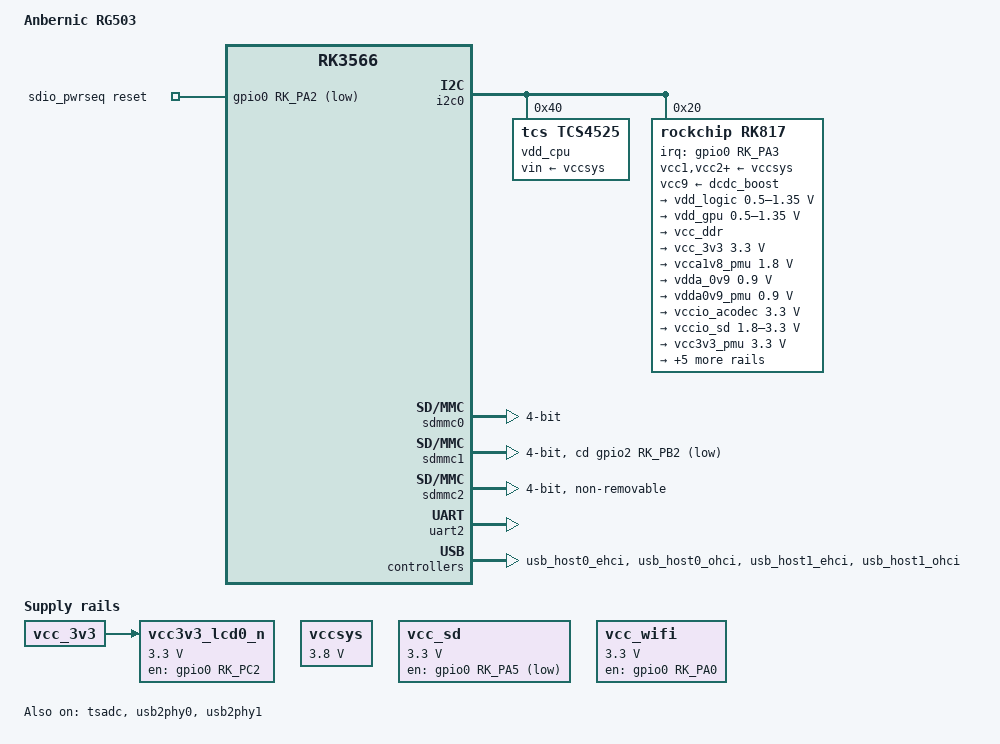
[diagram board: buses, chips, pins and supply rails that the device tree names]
// SPDX-License-Identifier: (GPL-2.0+ OR MIT)

/dts-v1/;

#include <dt-bindings/gpio/gpio.h>
#include <dt-bindings/pinctrl/rockchip.h>
#include "rk3566.dtsi"

/ {
	model = "Anbernic RG503";
	compatible = "anbernic,rg503", "rockchip,rk3566";

	chosen: chosen {
		stdout-path = "serial2:1500000n8";
	};

	sdio_pwrseq: sdio-pwrseq {
		compatible = "mmc-pwrseq-simple";
		clocks = <&rk817 1>;
		clock-names = "ext_clock";
		pinctrl-names = "default";
		pinctrl-0 = <&wifi_en>;
		post-power-on-delay-ms = <200>;

		reset-gpios = <&gpio0 RK_PA2 GPIO_ACTIVE_LOW>;
	};

	vccsys: vccsys {
		compatible = "regulator-fixed";
		regulator-name = "vccsys";
		regulator-always-on;
		regulator-boot-on;
		regulator-min-microvolt = <3800000>;
		regulator-max-microvolt = <3800000>;
	};

	vcc3v3_lcd0_n: vcc3v3-lcd0-n {
		compatible = "regulator-fixed";
		regulator-name = "vcc3v3-lcd0-n";
		regulator-boot-on;
		regulator-min-microvolt = <3300000>;
		regulator-max-microvolt = <3300000>;
		enable-active-high;
		gpio = <&gpio0 RK_PC2 GPIO_ACTIVE_HIGH>;
		vin-supply = <&vcc_3v3>;
		regulator-state-mem {
			regulator-off-in-suspend;
		};
	};

	vcc_sd: vcc-sd {
		compatible = "regulator-fixed";
		regulator-name = "vcc_sd";
		regulator-min-microvolt = <3300000>;
		regulator-max-microvolt = <3300000>;
		enable-active-low;
		gpio = <&gpio0 RK_PA5 GPIO_ACTIVE_LOW>;
		pinctrl-names = "default";
		pinctrl-0 = <&vcc_sd_en>;
	};

	vcc_wifi: vcc-wifi {
		compatible = "regulator-fixed";
		regulator-name = "vcc_wifi";
		regulator-min-microvolt = <3300000>;
		regulator-max-microvolt = <3300000>;
		enable-active-high;
		gpio = <&gpio0 RK_PA0 GPIO_ACTIVE_HIGH>;
		pinctrl-names = "default";
		pinctrl-0 = <&vcc_wifi_en>;
	};
};

#if 0
spi-lcd {
	compatible = "spi-gpio";
	#address-cells = <1>;
	#size-cells = <0>;

	sck-gpios = <&gpio4 RK_PB3 GPIO_ACTIVE_HIGH>;
	mosi-gpios = <&gpio4 RK_PB0 GPIO_ACTIVE_HIGH>;
	num-chipselects = <1>;
	cs-gpios = <&gpio4 RK_PA7 GPIO_ACTIVE_HIGH>;

	pinctrl-names = "default";
	pinctrl-0 = <&spi_lcd>;

	lcd@0 {
		compatible = "samsung,ams495qa04";
		reg = <0>;
		vdd-supply = <&vcc3v3_lcd0_n>;
//		vci-supply = <TODO>; is it hardwired to battery?
//		elvdd-supply = <TODO>;
		reset-gpios = <&gpio4 RK_PA0 GPIO_ACTIVE_LOW>;
		enable-gpios = <&gpio4 RK_PC0 GPIO_ACTIVE_HIGH>;
//		spi-max-frequency = <1200000>;

		pinctrl-names = "default";
		pinctrl-0 = <&lcd_lcd>;

		port {
			mipi_in_panel: endpoint {
				remote-endpoint = <&mipi_out_panel>;
			};
		};
	};
};
#endif

&cpu0 {
	cpu-supply = <&vdd_cpu>;
};

&cpu1 {
	cpu-supply = <&vdd_cpu>;
};

&cpu2 {
	cpu-supply = <&vdd_cpu>;
};

&cpu3 {
	cpu-supply = <&vdd_cpu>;
};

&i2c0 {
	status = "okay";

	vdd_cpu: regulator@40 {
		compatible = "tcs,tcs4525";
		reg = <0x40>;
		fcs,suspend-voltage-selector = <1>;
		regulator-name = "vdd_cpu";
		regulator-min-microvolt = <712500>;	// why are
		regulator-max-microvolt = <1390000>;	// these
		regulator-ramp-delay = <2300>;		// different
		regulator-always-on;
		regulator-boot-on;
		vin-supply = <&vccsys>;

		regulator-state-mem {
			regulator-off-in-suspend;
		};
	};

	rk817: pmic@20 {
		compatible = "rockchip,rk817";
		reg = <0x20>;
		interrupt-parent = <&gpio0>;
		interrupts = <RK_PA3 IRQ_TYPE_LEVEL_LOW>;
		assigned-clocks = <&cru I2S1_MCLKOUT_TX>;
		assigned-clock-parents = <&cru CLK_I2S1_8CH_TX>;
		clock-names = "mclk";
		clocks = <&cru I2S1_MCLKOUT_TX>;
		clock-output-names = "rk808-clkout1", "rk808-clkout2";
		#clock-cells = <1>;
		pinctrl-names = "default";
		pinctrl-0 = <&pmic_int_l>/*, <&i2s1m0_mclk>*/;
		rockchip,system-power-controller;
		#sound-dai-cells = <0>;
		wakeup-source;

		vcc1-supply = <&vccsys>;
		vcc2-supply = <&vccsys>;
		vcc3-supply = <&vccsys>;
		vcc4-supply = <&vccsys>;
		vcc5-supply = <&vccsys>;
		vcc6-supply = <&vccsys>;
		vcc7-supply = <&vccsys>;
		vcc8-supply = <&vccsys>;
		vcc9-supply = <&dcdc_boost>;

		regulators {
			vdd_logic: DCDC_REG1 {
				regulator-always-on;
				regulator-boot-on;
				regulator-min-microvolt = <500000>;
				regulator-max-microvolt = <1350000>;
				regulator-init-microvolt = <900000>;
				regulator-ramp-delay = <6001>;
				regulator-initial-mode = <0x2>;
				regulator-name = "vdd_logic";
				regulator-state-mem {
					regulator-on-in-suspend;
					regulator-suspend-microvolt = <900000>;
				};
			};

			vdd_gpu: DCDC_REG2 {
				regulator-always-on;
				regulator-boot-on;
				regulator-min-microvolt = <500000>;
				regulator-max-microvolt = <1350000>;
				regulator-init-microvolt = <900000>;
				regulator-ramp-delay = <6001>;
				regulator-initial-mode = <0x2>;
				regulator-name = "vdd_gpu";
				regulator-state-mem {
					regulator-off-in-suspend;
				};
			};

			vcc_ddr: DCDC_REG3 {
				regulator-always-on;
				regulator-boot-on;
				regulator-initial-mode = <0x2>;
				regulator-name = "vcc_ddr";
				regulator-state-mem {
					regulator-on-in-suspend;
				};
			};

			vcc_3v3: DCDC_REG4 {
				regulator-always-on;
				regulator-boot-on;
				regulator-min-microvolt = <3300000>;
				regulator-max-microvolt = <3300000>;
				regulator-initial-mode = <0x2>;
				regulator-name = "vcc_3v3";
				regulator-state-mem {
					regulator-on-in-suspend;
					regulator-suspend-microvolt = <3300000>;
				};
			};

			vcca1v8_pmu: LDO_REG1 {
				regulator-always-on;
				regulator-boot-on;
				regulator-min-microvolt = <1800000>;
				regulator-max-microvolt = <1800000>;
				regulator-name = "vcca1v8_pmu";
				regulator-state-mem {
					regulator-on-in-suspend;
					regulator-suspend-microvolt = <1800000>;
				};
			};

			vdda_0v9: LDO_REG2 {
				regulator-always-on;
				regulator-boot-on;
				regulator-min-microvolt = <900000>;
				regulator-max-microvolt = <900000>;
				regulator-name = "vdda_0v9";
				regulator-state-mem {
					regulator-off-in-suspend;
				};
			};

			vdda0v9_pmu: LDO_REG3 {
				regulator-always-on;
				regulator-boot-on;
				regulator-min-microvolt = <900000>;
				regulator-max-microvolt = <900000>;
				regulator-name = "vdda0v9_pmu";
				regulator-state-mem {
					regulator-on-in-suspend;
					regulator-suspend-microvolt = <900000>;
				};
			};

			vccio_acodec: LDO_REG4 {
				regulator-always-on;
				regulator-boot-on;
				regulator-min-microvolt = <3300000>;
				regulator-max-microvolt = <3300000>;
				regulator-name = "vccio_acodec";
				regulator-state-mem {
					regulator-off-in-suspend;
				};
			};

			vccio_sd: LDO_REG5 {
				regulator-always-on;
				regulator-boot-on;
				regulator-min-microvolt = <1800000>;
				regulator-max-microvolt = <3300000>;
				regulator-name = "vccio_sd";
				regulator-state-mem {
					regulator-off-in-suspend;
				};
			};

			vcc3v3_pmu: LDO_REG6 {
				regulator-always-on;
				regulator-boot-on;
				regulator-min-microvolt = <3300000>;
				regulator-max-microvolt = <3300000>;
				regulator-name = "vcc3v3_pmu";
				regulator-state-mem {
					regulator-on-in-suspend;
					regulator-suspend-microvolt = <3300000>; // 3.0v on downstream, why?
				};
			};

			vcc_1v8: LDO_REG7 {
				regulator-always-on;
				regulator-boot-on;
				regulator-min-microvolt = <1800000>;
				regulator-max-microvolt = <1800000>;
				regulator-name = "vcc_1v8";
				regulator-state-mem {
					regulator-off-in-suspend;
				};
			};

			vcc1v8_dvp: LDO_REG8 {
				regulator-always-on;
				regulator-boot-on;
				regulator-min-microvolt = <1800000>;
				regulator-max-microvolt = <3300000>; // why?
				regulator-name = "vcc1v8_dvp";
				regulator-state-mem {
					regulator-off-in-suspend;
				};
			};

			vcc2v8_dvp: LDO_REG9 {
				regulator-always-on;
				regulator-boot-on;
				regulator-min-microvolt = <2800000>;
				regulator-max-microvolt = <2800000>;
				regulator-name = "vcc2v8_dvp";
				regulator-state-mem {
					regulator-off-in-suspend;
				};
			};

			dcdc_boost: BOOST {
				regulator-always-on;
				regulator-boot-on;
				regulator-min-microvolt = <4700000>; // why?
				regulator-max-microvolt = <5400000>; // why?
				regulator-name = "boost";
				regulator-state-mem {
					regulator-off-in-suspend;
				};
			};

			otg_switch: OTG_SWITCH {
				regulator-name = "otg_switch";
				regulator-state-mem {
					regulator-off-in-suspend;
				};
			};
		};
	};
};

&pinctrl {
	sdio-pwrseq {
		wifi_en: wifi-en {
			rockchip,pins = <0 RK_PA2 RK_FUNC_GPIO &pcfg_pull_none>;
		};
	};

	sdio_wlan {
		vcc_wifi_en: vcc-wifi-en {
			rockchip,pins = <0 RK_PA0 RK_FUNC_GPIO &pcfg_pull_none>;
		};
	};

	sd_reg {
		vcc_sd_en: vcc-sd-en {
			rockchip,pins = <0 RK_PA5 RK_FUNC_GPIO &pcfg_pull_none>;
		};
	};

	pmic {
		pmic_int_l: pmic-int-l {
			rockchip,pins = <0 RK_PA3 RK_FUNC_GPIO &pcfg_pull_up>;
		};
	};
};

&sdmmc0 { // "internal" sd card
	bus-width = <4>;
	max-frequency = <50000000>;
	supports-sd;
	disable-wp;
	cap-sd-highspeed;
	cap-mmc-highspeed;
	sd-uhs-sdr12;
	sd-uhs-sdr25;
	sd-uhs-sdr50;
	sd-uhs-sdr104;
	vqmmc-supply = <&vccio_sd>;
	pinctrl-names = "default";
	pinctrl-0 = <&sdmmc0_bus4 &sdmmc0_clk &sdmmc0_cmd &sdmmc0_det>;
	status = "okay";
};

&sdmmc1 {
	max-frequency = <150000000>;
	supports-sd;
	bus-width = <4>;
	disable-wp;
	cap-mmc-highspeed;
	cap-sd-highspeed;
	keep-power-in-suspend;	
	card-detect-delay = <800>;
	cd-gpios = <&gpio2 RK_PB2 GPIO_ACTIVE_LOW>; /*[> CD GPIO <]*/
	vqmmc-supply = <&vcc1v8_dvp>;	
	pinctrl-names = "default";
	pinctrl-0 = <&sdmmc1_bus4 &sdmmc1_cmd &sdmmc1_clk>;
	sd-uhs-sdr12;
	sd-uhs-sdr25;
	sd-uhs-sdr50;
	sd-uhs-sdr104;
	status = "okay";
};

&sdmmc2 { // sdio wifi
	bus-width = <4>;
	max-frequency = <50000000>;
	supports-sdio;
	disable-wp;
	cap-sd-highspeed;
	cap-sdio-irq;
	keep-power-in-suspend; // can we remove it?
	mmc-pwrseq = <&sdio_pwrseq>;
	non-removable;
	sd-uhs-sdr104;
	//broken-cd; // if broken uncomment this
	status = "okay";
};

&tsadc {
	/* tshut mode 0:CRU 1:GPIO */
	rockchip,hw-tshut-mode = <0>;
	/* tshut polarity 0:LOW 1:HIGH */
	rockchip,hw-tshut-polarity = <0>;
	status = "okay";
};

/*&uart1 { // the fuck is it enabled for in downstream
	pinctrl-names = "default";
	pinctrl-0 = <&uart1m0_xfer &uart1m0_ctsn>;
	status = "okay";
	uart-has-rtscts;

	bluetooth {
		compatible = "brcm,bcm43438-bt";
		clocks = <&rk817 1>;
		clock-names = "lpo";
		device-wake-gpios = <&gpio2 RK_PC1 GPIO_ACTIVE_HIGH>;
		host-wake-gpios = <&gpio2 RK_PC0 GPIO_ACTIVE_HIGH>;
		shutdown-gpios = <&gpio2 RK_PB7 GPIO_ACTIVE_HIGH>;
		pinctrl-names = "default";
		pinctrl-0 = <&bt_host_wake_l &bt_wake_l &bt_enable_h>;
		vbat-supply = <&vccsys>;
		vddio-supply = <&vcca1v8_pmu>;
	};
};*/

&uart2 {
	status = "okay";
};

&usb_host0_ehci {
	status = "okay";
};

&usb_host0_ohci {
	status = "okay";
};

&usb_host1_ehci {
	status = "okay";
};

&usb_host1_ohci {
	status = "okay";
};

&usb2phy0 {
	status = "okay";

	usb2phy0_host: host-port {
		status = "okay";
	};

	usb2phy0_otg: otg-port {
		status = "disabled";
	};
};

&usb2phy1 {
	status = "okay";

	usb2phy1_host: host-port {
		status = "okay";
	};

	usb2phy1_otg: otg-port {
		status = "disabled";
	};
};
